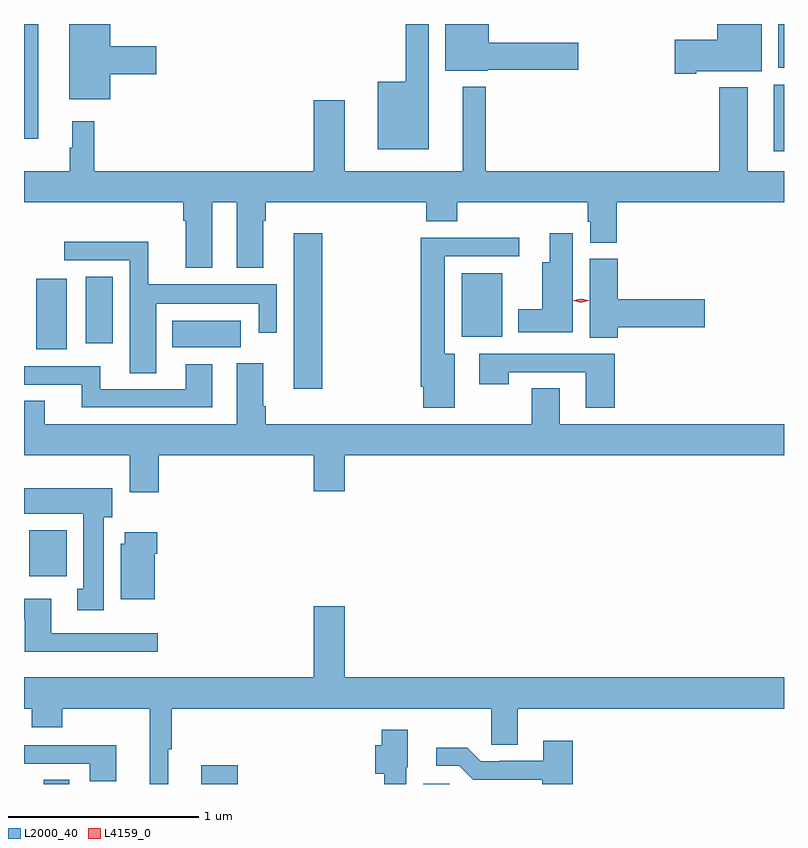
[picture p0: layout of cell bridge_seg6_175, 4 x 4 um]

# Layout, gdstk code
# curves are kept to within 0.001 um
import gdstk
lib = gdstk.Library(unit=1e-6, precision=1e-09)
def R(c, l, rs):  # rectangles x0, y0, x1, y1
    for r in rs: c.add(gdstk.rectangle(r[:2], r[2:], *l))
def P(c, l, *ps):  # polygons
    for p in ps: c.add(gdstk.Polygon(p, *l))
L2000_40 = (2000, 40)
L4159_0 = (4159, 0)

bridge_seg6_175 = lib.new_cell('bridge_seg6_175')
R(bridge_seg6_175, L2000_40, [(331.418,929.623,331.552,929.645), (332.247,929.623,332.441,929.722), (333.416,929.623,333.555,929.625), (331.343,930.716,331.54,930.958), (332.735,931.704,332.885,932.521), (331.379,931.91,331.54,932.281), (332.096,931.922,332.455,932.062), (331.64,931.944,331.783,932.294), (333.62,931.976,333.832,932.311), (335.261,932.952,335.315,933.304), (331.315,933.02,331.39,933.623), (335.285,933.392,335.315,933.622)])
P(bridge_seg6_175, L2000_40, [(334.852,933.374),(335.197,933.374),(335.197,933.623),(334.964,933.623),(334.964,933.54),(334.74,933.54),(334.74,933.362),(334.852,933.362)],
  [(333.445,933.623),(333.324,933.623),(333.324,933.319),(333.176,933.319),(333.176,932.963),(333.445,932.963)],
  [(331.768,933.359),(332.011,933.359),(332.011,933.506),(331.768,933.506),(331.768,933.623),(331.553,933.623),(331.553,933.227),(331.768,933.227)],
  [(333.756,933.383),(334.231,933.383),(334.231,933.525),(333.76,933.525),(333.76,933.623),(333.533,933.623),(333.533,933.377),(333.756,933.377)],
  [(334.283,932.583),(334.295,932.583),(334.295,932.473),(334.436,932.473),(334.436,932.684),(335.315,932.684),(335.315,932.848),(335.125,932.848),(335.125,933.289),(334.973,933.289),(334.973,932.848),(333.745,932.848),(333.745,933.292),(333.623,933.292),(333.623,932.848),(333.004,932.848),(333.004,933.223),(332.84,933.223),(332.84,932.848),(331.685,932.848),(331.685,933.112),(331.568,933.112),(331.568,932.972),(331.557,932.972),(331.557,932.848),(331.315,932.848),(331.315,932.684),(332.153,932.684),(332.153,932.588),(332.165,932.588),(332.165,932.339),(332.305,932.339),(332.305,932.684),(332.435,932.684),(332.435,932.339),(332.575,932.339),(332.575,932.588),(332.588,932.588),(332.588,932.684),(333.431,932.684),(333.431,932.585),(333.596,932.585),(333.596,932.684),(334.283,932.684)],
  [(334.204,932.521),(334.082,932.521),(334.082,932.368),(334.043,932.368),(334.043,932.122),(333.917,932.122),(333.917,932),(334.204,932)],
  [(333.583,931.888),(333.529,931.888),(333.529,932.4),(333.922,932.4),(333.922,932.498),(333.404,932.498),(333.404,931.714),(333.416,931.714),(333.416,931.602),(333.583,931.602)],
  [(332.011,932.15),(332.55,932.15),(332.55,931.998),(332.646,931.998),(332.646,932.254),(331.97,932.254),(331.97,932.477),(331.527,932.477),(331.527,932.379),(331.871,932.379),(331.871,931.786),(332.011,931.786)],
  [(334.439,932.027),(334.897,932.027),(334.897,932.174),(334.439,932.174),(334.439,932.388),(334.292,932.388),(334.292,931.972),(334.439,931.972)],
  [(334.424,931.887),(333.711,931.887),(333.711,931.728),(333.867,931.728),(333.867,931.791),(334.271,931.791),(334.271,931.602),(334.424,931.602)],
  [(332.024,931.352),(332.84,931.352),(332.84,931.164),(333.004,931.164),(333.004,931.352),(335.315,931.352),(335.315,931.516),(334.135,931.516),(334.135,931.706),(333.988,931.706),(333.988,931.516),(332.588,931.516),(332.588,931.612),(332.575,931.612),(332.575,931.837),(332.435,931.837),(332.435,931.516),(331.423,931.516),(331.423,931.64),(331.315,931.64),(331.315,931.352),(331.871,931.352),(331.871,931.158),(332.024,931.158)],
  [(332.305,931.831),(332.165,931.831),(332.165,931.701),(331.717,931.701),(331.717,931.821),(331.315,931.821),(331.315,931.725),(331.619,931.725),(331.619,931.605),(332.305,931.605)],
  [(331.735,931.026),(331.78,931.026),(331.78,931.18),(331.315,931.18),(331.315,931.046),(331.628,931.046),(331.628,930.65),(331.595,930.65),(331.595,930.537),(331.735,930.537)],
  [(332.002,930.836),(332.015,930.836),(332.015,930.949),(331.844,930.949),(331.844,930.888),(331.823,930.888),(331.823,930.596),(332.002,930.596)],
  [(332.02,930.417),(331.459,930.417),(331.459,930.598),(331.315,930.598),(331.315,930.489),(331.319,930.489),(331.319,930.32),(332.02,930.32)],
  [(331.315,930.02),(331.355,930.02),(331.355,929.921),(331.515,929.921),(331.515,930.02),(331.976,930.02),(331.976,929.623),(332.074,929.623),(332.074,929.805),(332.093,929.805),(332.093,930.02),(333.774,930.02),(333.774,929.83),(333.913,929.83),(333.913,930.02),(335.315,930.02),(335.315,930.184),(333.004,930.184),(333.004,930.559),(332.84,930.559),(332.84,930.184),(331.315,930.184)],
  [(333.327,929.712),(333.334,929.712),(333.334,929.908),(333.198,929.908),(333.198,929.826),(333.164,929.826),(333.164,929.678),(333.211,929.678),(333.211,929.623),(333.327,929.623)],
  [(334.202,929.851),(334.049,929.851),(334.049,929.745),(333.82,929.745),(333.82,929.742),(333.72,929.742),(333.647,929.815),(333.486,929.815),(333.486,929.718),(333.606,929.718),(333.679,929.645),(334.042,929.646),(334.042,929.623),(334.202,929.623)],
  [(331.801,929.826),(331.315,929.826),(331.315,929.73),(331.661,929.73),(331.661,929.637),(331.801,929.637)])
P(bridge_seg6_175, L4159_0, [(334.247,932.157),(334.208,932.167),(334.208,932.167),(334.208,932.168),(334.247,932.177),(334.286,932.168),(334.287,932.167),(334.286,932.167)])

lib.write_gds('bridge_seg6_175.gds')
